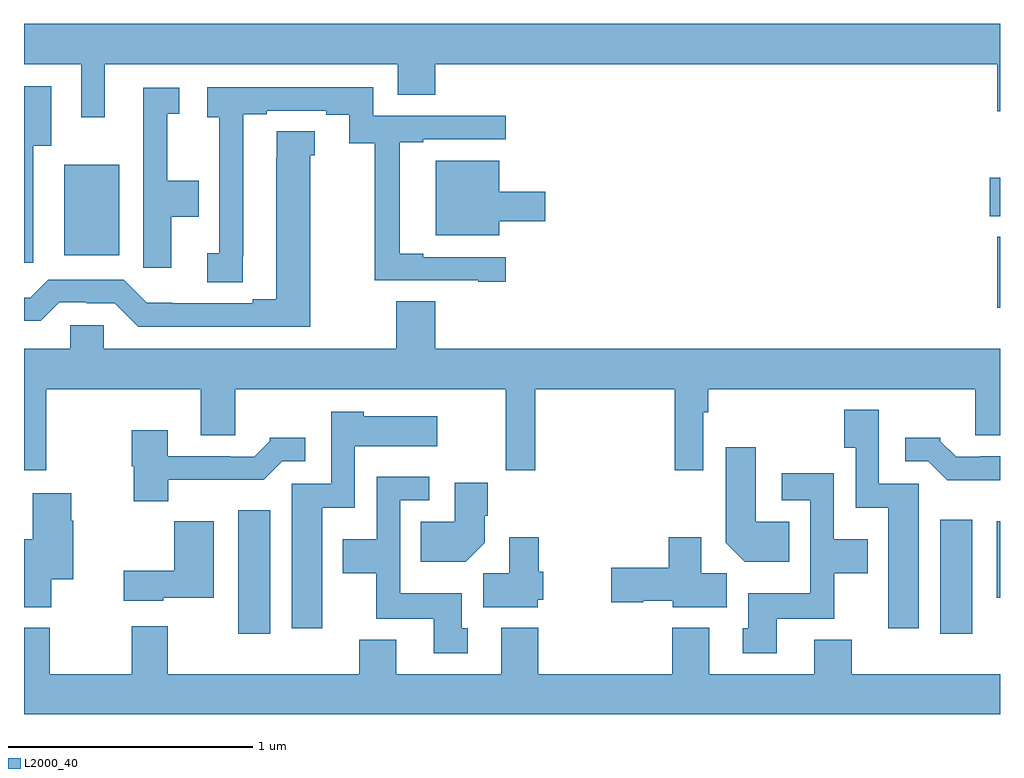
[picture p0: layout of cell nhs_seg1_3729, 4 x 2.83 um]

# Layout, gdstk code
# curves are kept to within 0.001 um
import gdstk
lib = gdstk.Library(unit=1e-6, precision=1e-09)
def R(c, l, rs):  # rectangles x0, y0, x1, y1
    for r in rs: c.add(gdstk.rectangle(r[:2], r[2:], *l))
def P(c, l, *ps):  # polygons
    for p in ps: c.add(gdstk.Polygon(p, *l))
L2000_40 = (2000, 40)

nhs_seg1_3729 = lib.new_cell('nhs_seg1_3729')
R(nhs_seg1_3729, L2000_40, [(315.878,510.768,316.009,511.276), (318.755,510.768,318.886,511.237), (318.986,510.917,319,511.231), (318.989,512.106,319,512.395), (315.164,512.321,315.391,512.692), (318.957,512.48,319,512.638)])
P(nhs_seg1_3729, L2000_40, [(315.331,513.104),(316.532,513.104),(316.532,512.977),(316.685,512.977),(316.685,513.104),(318.989,513.104),(318.989,512.91),(319,512.91),(319,513.268),(315,513.268),(315,513.104),(315.234,513.104),(315.234,512.886),(315.331,512.886)],
  [(315.037,512.768),(315.112,512.768),(315.112,513.013),(315,513.013),(315,512.289),(315.037,512.289)],
  [(315.897,512.317),(315.898,512.317),(315.898,512.898),(315.994,512.898),(315.994,512.913),(316.238,512.913),(316.238,512.895),(316.334,512.895),(316.334,512.78),(316.438,512.78),(316.438,512.217),(316.862,512.217),(316.862,512.212),(316.975,512.212),(316.975,512.313),(316.636,512.313),(316.636,512.326),(316.54,512.326),(316.54,512.784),(316.636,512.784),(316.636,512.796),(316.975,512.796),(316.975,512.892),(316.431,512.892),(316.431,513.009),(315.75,513.009),(315.75,512.885),(315.801,512.885),(315.801,512.328),(315.75,512.328),(315.75,512.209),(315.897,512.209)],
  [(315.604,512.479),(315.716,512.479),(315.716,512.626),(315.587,512.626),(315.587,512.901),(315.637,512.901),(315.637,513.007),(315.488,513.007),(315.488,512.268),(315.604,512.268)],
  [(316.174,512.73),(316.192,512.73),(316.192,512.828),(316.035,512.828),(316.034,512.139),(315.938,512.139),(315.938,512.124),(315.503,512.125),(315.408,512.22),(315.099,512.22),(315.026,512.147),(315,512.147),(315,512.051),(315.068,512.051),(315.144,512.127),(315.257,512.127),(315.257,512.124),(315.372,512.124),(315.468,512.028),(316.174,512.028)],
  [(316.948,512.459),(317.137,512.459),(317.137,512.581),(316.948,512.581),(316.948,512.707),(316.688,512.707),(316.688,512.402),(316.948,512.402)],
  [(315.725,511.582),(315.865,511.582),(315.865,511.772),(316.975,511.772),(316.975,511.44),(317.096,511.44),(317.096,511.772),(317.668,511.772),(317.668,511.44),(317.784,511.44),(317.784,511.676),(317.804,511.676),(317.804,511.772),(318.899,511.772),(318.899,511.582),(319,511.582),(319,511.936),(316.685,511.936),(316.685,512.132),(316.525,512.132),(316.525,511.936),(315.327,511.936),(315.327,512.034),(315.189,512.034),(315.189,511.936),(315,511.936),(315,511.44),(315.091,511.44),(315.091,511.772),(315.725,511.772)],
  [(318.667,511.383),(318.504,511.383),(318.504,511.687),(318.361,511.687),(318.361,511.531),(318.408,511.531),(318.408,511.286),(318.542,511.286),(318.542,510.792),(318.667,510.792)],
  [(316.222,511.286),(316.356,511.286),(316.356,511.538),(316.693,511.538),(316.693,511.66),(316.392,511.66),(316.392,511.678),(316.26,511.678),(316.26,511.383),(316.097,511.383),(316.097,510.792),(316.222,510.792)],
  [(315.592,511.4),(315.983,511.4),(316.059,511.476),(316.153,511.476),(316.153,511.573),(316.008,511.573),(316.008,511.558),(315.944,511.494),(315.845,511.494),(315.845,511.497),(315.589,511.497),(315.589,511.603),(315.442,511.603),(315.442,511.455),(315.449,511.455),(315.449,511.313),(315.592,511.313)],
  [(319,511.497),(318.919,511.497),(318.919,511.494),(318.82,511.494),(318.756,511.558),(318.756,511.573),(318.612,511.573),(318.612,511.476),(318.705,511.476),(318.784,511.398),(319,511.398)],
  [(318.137,511.228),(317.998,511.228),(317.998,511.534),(317.876,511.534),(317.876,511.142),(317.954,511.064),(318.137,511.064)],
  [(318.085,510.83),(318.321,510.83),(318.321,511.016),(318.457,511.016),(318.457,511.156),(318.318,511.156),(318.318,511.426),(318.105,511.426),(318.105,511.317),(318.222,511.317),(318.222,510.934),(317.969,510.934),(317.969,510.792),(317.945,510.792),(317.945,510.69),(318.085,510.69)],
  [(316.819,510.792),(316.795,510.792),(316.795,510.934),(316.542,510.934),(316.542,511.317),(316.66,511.317),(316.66,511.413),(316.446,511.413),(316.446,511.156),(316.307,511.156),(316.307,511.016),(316.444,511.016),(316.444,510.83),(316.679,510.83),(316.679,510.69),(316.819,510.69)],
  [(316.888,511.142),(316.888,511.252),(316.901,511.252),(316.901,511.387),(316.766,511.387),(316.766,511.228),(316.627,511.228),(316.627,511.064),(316.81,511.064)],
  [(315.112,510.992),(315.201,510.992),(315.201,511.232),(315.193,511.232),(315.193,511.345),(315.035,511.345),(315.035,511.156),(315,511.156),(315,510.878),(315.112,510.878)],
  [(315.57,510.917),(315.778,510.917),(315.778,511.231),(315.616,511.231),(315.616,511.027),(315.408,511.027),(315.408,510.905),(315.57,510.905)],
  [(317.881,511.016),(317.776,511.016),(317.776,511.165),(317.642,511.165),(317.642,511.04),(317.406,511.04),(317.406,510.898),(317.538,510.898),(317.538,510.905),(317.658,510.905),(317.658,510.878),(317.881,510.878)],
  [(317.106,510.909),(317.128,510.909),(317.128,511.023),(317.11,511.023),(317.11,511.165),(316.988,511.165),(316.988,511.016),(316.883,511.016),(316.883,510.878),(317.106,510.878)],
  [(317.657,510.793),(317.657,510.604),(317.108,510.604),(317.108,510.793),(316.955,510.793),(316.955,510.604),(316.525,510.604),(316.525,510.745),(316.373,510.745),(316.373,510.604),(315.589,510.604),(315.589,510.799),(315.442,510.799),(315.442,510.604),(315.105,510.604),(315.105,510.793),(315,510.793),(315,510.44),(319,510.44),(319,510.604),(318.392,510.604),(318.392,510.745),(318.239,510.745),(318.239,510.604),(317.809,510.604),(317.809,510.793)])

lib.write_gds('nhs_seg1_3729.gds')
